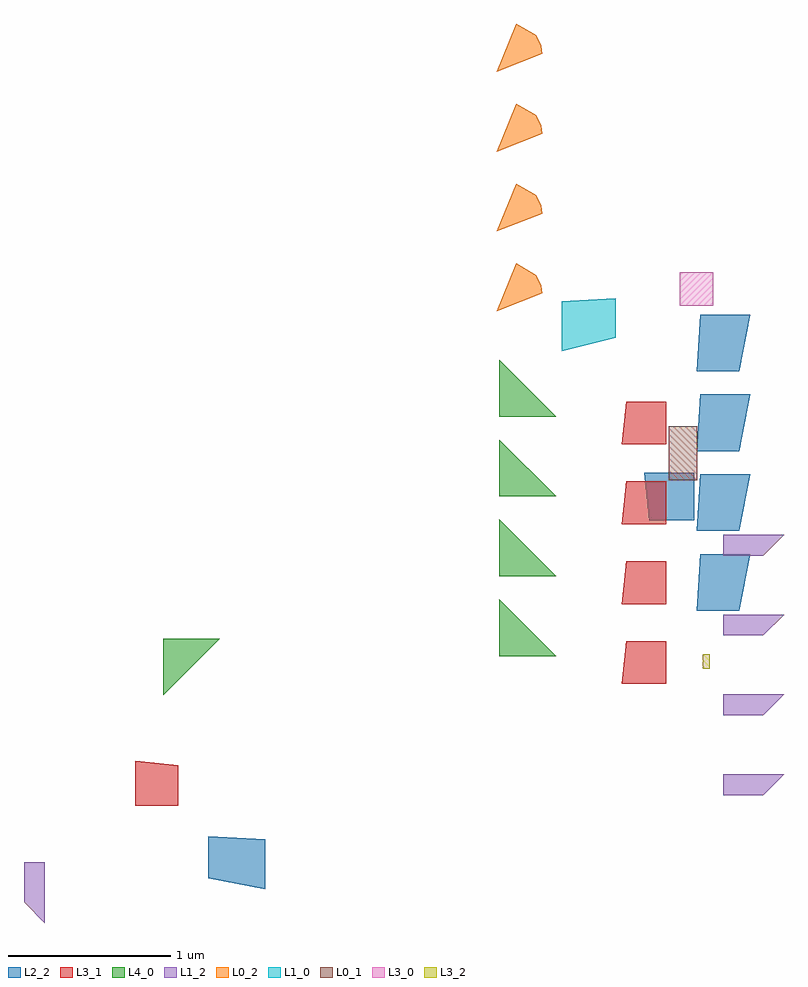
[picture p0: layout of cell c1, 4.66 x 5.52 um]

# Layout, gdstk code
from math import pi, radians
import gdstk
lib = gdstk.Library(unit=1e-6, precision=1e-09)
def R(c, l, rs):  # rectangles x0, y0, x1, y1
    for r in rs: c.add(gdstk.rectangle(r[:2], r[2:], *l))
def P(c, l, *ps):  # polygons
    for p in ps: c.add(gdstk.Polygon(p, *l))
L0_1 = (0, 1)
L0_2 = (0, 2)
L1_0 = (1, 0)
L1_2 = (1, 2)
L2_2 = (2, 2)
L3_0 = (3, 0)
L3_1 = (3, 1)
L3_2 = (3, 2)
L4_0 = (4, 0)

c_c0 = lib.new_cell('c0')
P(c_c0, L1_2, [(-0.686,-0.284),(-0.814,-0.156),(-0.441,-0.156),(-0.441,-0.284)])
P(c_c0, L2_2, [(-0.607,1.195),(-0.301,1.195),(-0.28,0.847),(-0.54,0.847)])
P(c_c0, L3_1, [(-0.093,0.661),(0.155,0.661),(0.183,0.398),(-0.093,0.398)])
P(c_c0, L4_0, [(0.583,0.569),(0.932,0.918),(0.932,0.569)])

c_c1 = lib.new_cell('c1')
R(c_c1, L0_1, [(1.687,0.499,1.864,0.829)])
P(c_c1, L0_2, [(0.633,1.536),(0.912,1.645),(0.906,1.696),(0.874,1.758),(0.753,1.829)],
  [(0.633,2.026),(0.912,2.135),(0.906,2.186),(0.874,2.248),(0.753,2.319)],
  [(0.633,2.516),(0.912,2.625),(0.906,2.676),(0.874,2.738),(0.753,2.809)],
  [(0.633,3.006),(0.912,3.115),(0.906,3.166),(0.874,3.228),(0.753,3.299)])
P(c_c1, L1_0, [(1.03,1.29),(1.03,1.597),(1.362,1.616),(1.362,1.373)])
P(c_c1, L2_2, [(1.538,0.544),(1.844,0.544),(1.844,0.253),(1.569,0.253)])
R(c_c1, L3_0, [(1.755,1.569,1.961,1.775)])
c_c1.add(gdstk.FlexPath([(1.917,-0.59),(1.917,-0.658)], 0.044, ends=(0.022, 0), simple_path=True, layer=3, datatype=2))  # L3_2
c_c1.add(gdstk.Reference(c_c0, (-1.984,-1.404), rotation=pi/2, x_reflection=True))
r = gdstk.Reference(c_c0, (1.581,-1.149), rotation=pi, x_reflection=True); r.repetition = gdstk.Repetition(1, 4, v1=(0,0), v2=(0,0.49)); c_c1.add(r)

lib.write_gds('c1.gds')
